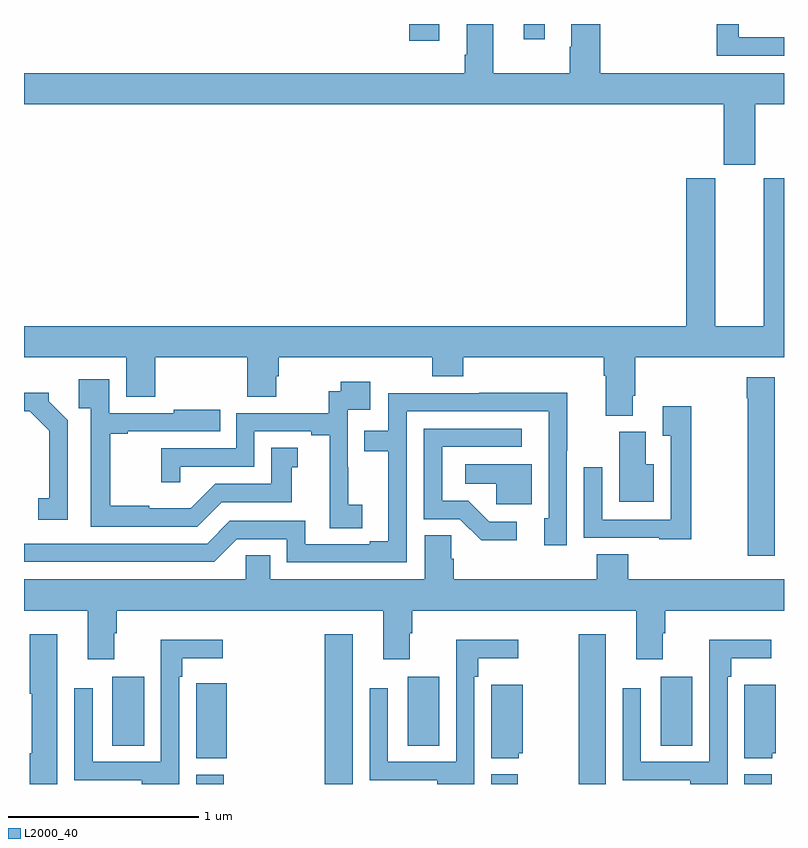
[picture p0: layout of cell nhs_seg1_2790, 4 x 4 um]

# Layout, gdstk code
import gdstk
lib = gdstk.Library(unit=1e-6, precision=1e-09)
def R(c, l, rs):  # rectangles x0, y0, x1, y1
    for r in rs: c.add(gdstk.rectangle(r[:2], r[2:], *l))
def P(c, l, *ps):  # polygons
    for p in ps: c.add(gdstk.Polygon(p, *l))
L2000_40 = (2000, 40)

nhs_seg1_2790 = lib.new_cell('nhs_seg1_2790')
R(nhs_seg1_2790, L2000_40, [(263.906,504.199,264.05,504.249), (264.584,504.199,264.73,504.988), (265.46,504.199,265.599,504.25), (265.921,504.199,266.062,504.988), (266.792,504.199,266.936,504.25), (263.465,504.4,263.632,504.763), (265.019,504.4,265.186,504.763), (266.351,504.4,266.518,504.763), (265.028,508.11,265.186,508.199), (265.631,508.119,265.741,508.199)])
P(nhs_seg1_2790, L2000_40, [(267,508.128),(266.763,508.128),(266.763,508.199),(266.647,508.199),(266.647,508.032),(267,508.032)],
  [(266.848,507.776),(267,507.776),(267,507.94),(266.033,507.94),(266.033,508.199),(265.88,508.199),(265.88,508.079),(265.873,508.079),(265.873,507.94),(265.471,507.94),(265.471,508.199),(265.331,508.199),(265.331,508.036),(265.319,508.036),(265.319,507.94),(263,507.94),(263,507.776),(266.684,507.776),(266.684,507.459),(266.848,507.459)],
  [(266.203,506.242),(266.216,506.242),(266.216,506.444),(267,506.444),(267,507.387),(266.894,507.387),(266.894,506.608),(266.638,506.608),(266.638,507.387),(266.486,507.387),(266.486,506.608),(263,506.608),(263,506.444),(263.537,506.444),(263.537,506.236),(263.69,506.236),(263.69,506.444),(264.176,506.444),(264.176,506.236),(264.328,506.236),(264.328,506.346),(264.341,506.346),(264.341,506.444),(265.148,506.444),(265.148,506.345),(265.313,506.345),(265.313,506.444),(266.051,506.444),(266.051,506.348),(266.063,506.348),(266.063,506.137),(266.203,506.137)],
  [(266.95,506.341),(266.804,506.341),(266.804,506.228),(266.809,506.228),(266.809,505.401),(266.95,505.401)],
  [(264.042,505.683),(264.409,505.683),(264.409,505.867),(264.442,505.867),(264.442,505.97),(264.302,505.97),(264.302,505.779),(264.006,505.779),(263.878,505.651),(263.66,505.651),(263.66,505.663),(263.453,505.663),(263.453,506.043),(263.545,506.043),(263.545,506.055),(264.032,506.055),(264.032,506.17),(263.789,506.17),(263.789,506.151),(263.448,506.151),(263.448,506.329),(263.287,506.329),(263.287,506.177),(263.352,506.177),(263.352,505.554),(263.913,505.554)],
  [(264.781,505.668),(264.707,505.668),(264.707,505.865),(264.705,505.865),(264.705,506.169),(264.823,506.169),(264.823,506.317),(264.667,506.317),(264.667,506.265),(264.604,506.265),(264.604,506.151),(264.117,506.151),(264.117,505.965),(263.722,505.965),(263.722,505.788),(263.823,505.788),(263.823,505.869),(264.213,505.869),(264.213,506.055),(264.512,506.055),(264.512,506.035),(264.608,506.035),(264.608,505.657),(264.61,505.657),(264.61,505.546),(264.781,505.546)],
  [(263.229,506.114),(263.13,506.213),(263.13,506.258),(263,506.258),(263,506.16),(263.031,506.16),(263.132,506.059),(263.132,505.703),(263.074,505.703),(263.074,505.59),(263.229,505.59)],
  [(265.014,506.16),(265.761,506.16),(265.761,505.599),(265.739,505.599),(265.739,505.455),(265.857,505.455),(265.857,505.954),(265.859,505.954),(265.859,506.258),(265.396,506.258),(265.396,506.256),(264.918,506.256),(264.918,506.058),(264.79,506.058),(264.79,505.95),(264.917,505.95),(264.917,505.476),(264.821,505.476),(264.821,505.461),(264.48,505.461),(264.48,505.584),(264.084,505.584),(263.964,505.464),(263,505.464),(263,505.368),(264,505.368),(264.12,505.488),(264.384,505.488),(264.384,505.365),(265.014,505.365)],
  [(266.512,506.188),(266.363,506.188),(266.363,506.032),(266.403,506.032),(266.403,505.59),(266.043,505.59),(266.043,505.867),(265.947,505.867),(265.947,505.494),(266.343,505.494),(266.343,505.487),(266.512,505.487)],
  [(265.594,505.578),(265.449,505.578),(265.338,505.689),(265.2,505.689),(265.2,505.974),(265.621,505.974),(265.621,506.07),(265.104,506.07),(265.104,505.593),(265.293,505.593),(265.406,505.481),(265.594,505.481)],
  [(266.314,505.882),(266.272,505.882),(266.272,506.052),(266.132,506.052),(266.132,505.685),(266.314,505.685)],
  [(265.672,505.882),(265.323,505.882),(265.323,505.778),(265.485,505.778),(265.485,505.671),(265.672,505.671)],
  [(263,505.112),(263.336,505.112),(263.336,504.855),(263.476,504.855),(263.476,504.992),(263.489,504.992),(263.489,505.112),(264.89,505.112),(264.89,504.855),(265.03,504.855),(265.03,504.992),(265.043,504.992),(265.043,505.112),(266.222,505.112),(266.222,504.855),(266.362,504.855),(266.362,504.992),(266.375,504.992),(266.375,505.112),(267,505.112),(267,505.276),(266.18,505.276),(266.18,505.409),(266.015,505.409),(266.015,505.276),(265.262,505.276),(265.262,505.385),(265.248,505.385),(265.248,505.508),(265.109,505.508),(265.109,505.276),(264.295,505.276),(264.295,505.403),(264.168,505.403),(264.168,505.276),(263,505.276)],
  [(263.176,504.988),(263.03,504.988),(263.03,504.675),(263.042,504.675),(263.042,504.36),(263.03,504.36),(263.03,504.199),(263.176,504.199)],
  [(265.371,504.764),(265.391,504.764),(265.391,504.86),(265.6,504.86),(265.6,504.958),(265.275,504.958),(265.275,504.315),(264.915,504.315),(264.915,504.703),(264.819,504.703),(264.819,504.219),(265.175,504.219),(265.175,504.199),(265.371,504.199)],
  [(266.703,504.764),(266.723,504.764),(266.723,504.86),(266.932,504.86),(266.932,504.958),(266.607,504.958),(266.607,504.315),(266.247,504.315),(266.247,504.703),(266.151,504.703),(266.151,504.219),(266.507,504.219),(266.507,504.199),(266.703,504.199)],
  [(263.817,504.764),(263.833,504.764),(263.833,504.86),(264.046,504.86),(264.046,504.958),(263.721,504.958),(263.721,504.315),(263.361,504.315),(263.361,504.703),(263.265,504.703),(263.265,504.219),(263.621,504.219),(263.621,504.199),(263.817,504.199)],
  [(264.068,504.73),(263.907,504.73),(263.907,504.617),(263.906,504.617),(263.906,504.334),(264.068,504.334)],
  [(266.937,504.36),(266.956,504.36),(266.956,504.721),(266.792,504.721),(266.792,504.335),(266.937,504.335)],
  [(265.605,504.36),(265.624,504.36),(265.624,504.721),(265.46,504.721),(265.46,504.335),(265.605,504.335)])

lib.write_gds('nhs_seg1_2790.gds')
